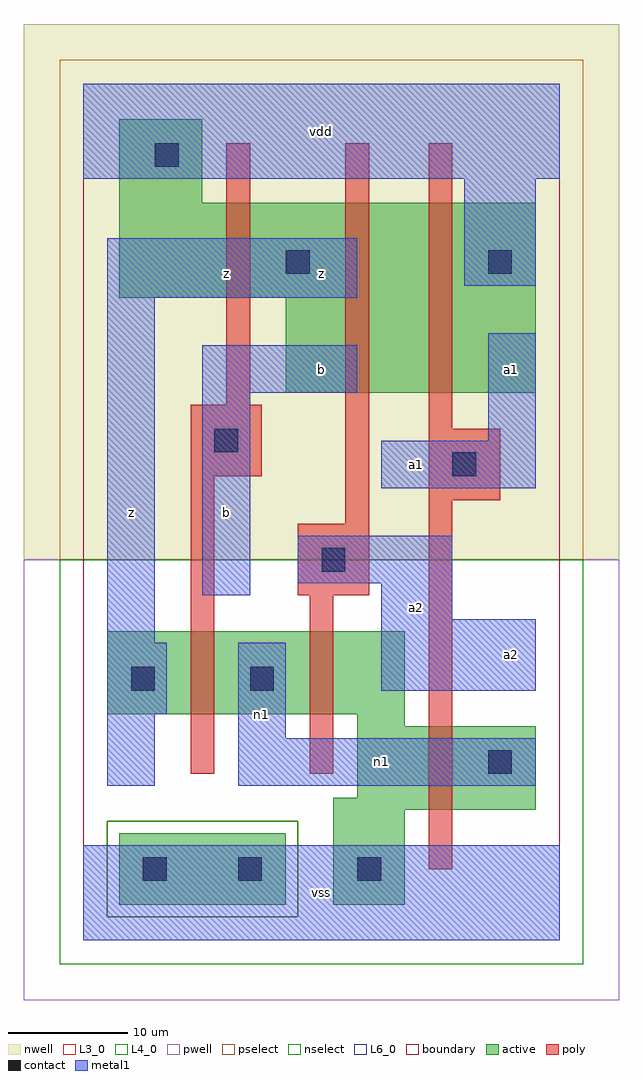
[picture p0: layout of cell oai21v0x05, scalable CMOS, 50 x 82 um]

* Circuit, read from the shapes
.subckt oai21v0x05 a1 a2 b n1 vdd vss z
M1 n1 b z vss nfet w=7u l=2u
M2 vss a2 n1 vss nfet w=7u l=2u
M3 n1 a1 vss vss nfet w=7u l=2u
M4 z b vdd n2 pfet w=8u l=2u
M5 n3 a2 z n2 pfet w=16u l=2u
M6 vdd a1 n3 n2 pfet w=16u l=2u
.ends

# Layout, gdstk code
import gdstk
lib = gdstk.Library(unit=1e-6, precision=1e-09)
def R(c, l, rs):  # rectangles x0, y0, x1, y1
    for r in rs: c.add(gdstk.rectangle(r[:2], r[2:], *l))
L3_0 = (3, 0)
L4_0 = (4, 0)
L6_0 = (6, 0)
contact = (25, 0)
pwell = (41, 0)
nwell = (42, 0)
active = (43, 0)
pselect = (44, 0)
nselect = (45, 0)
poly = (46, 0)
metal1 = (49, 0)
boundary = (63, 0)

oai21v0x05 = lib.new_cell('oai21v0x05')
R(oai21v0x05, L3_0, [(21,3,27,11), (21,11,38,12), (23,12,38,18), (23,18,27,19), (2,19,27,26)])
R(oai21v0x05, L4_0, [(17,46,38,54), (3,54,38,62), (3,62,10,69)])
R(oai21v0x05, L6_0, [(3,3,17,9)])
R(oai21v0x05, contact, [(5,5,7,7), (13,5,15,7), (23,5,25,7), (34,14,36,16), (4,21,6,23), (14,21,16,23), (20,31,22,33), (31,39,33,41), (11,41,13,43), (17,56,19,58), (34,56,36,58), (6,65,8,67)])
R(oai21v0x05, pwell, [(-5,-5,45,32)])
R(oai21v0x05, nwell, [(-5,32,45,77)])
R(oai21v0x05, active, [(3,3,17,9), (21,3,27,11), (21,11,38,12), (23,12,38,18), (23,18,27,19), (2,19,27,26), (17,46,38,54), (3,54,38,62), (3,62,10,69)])
R(oai21v0x05, pselect, [(2,2,18,10), (-2,32,42,74)])
R(oai21v0x05, nselect, [(-2,-2,42,2), (-2,2,2,10), (18,2,42,10), (-2,10,42,32)])
R(oai21v0x05, poly, [(29,6,31,37), (9,14,11,39), (19,14,21,29), (18,29,24,35), (22,35,24,67), (29,37,35,43), (9,39,15,45), (29,43,31,67), (12,45,14,67)])
R(oai21v0x05, metal1, [(0,0,40,8), (2,13,6,19), (13,13,38,17), (13,17,17,25), (2,19,7,25), (25,21,38,27), (2,25,6,54), (25,27,31,30), (10,29,14,46), (18,30,31,34), (25,38,38,42), (34,42,38,51), (10,46,23,50), (2,54,23,59), (32,55,38,64), (0,64,40,72)])
R(oai21v0x05, boundary, [(0,0,40,72)])
oai21v0x05.add(gdstk.Label('n1', (15,19), layer=49, texttype=0))
oai21v0x05.add(gdstk.Label('n1', (25,15), layer=49, texttype=0))
oai21v0x05.add(gdstk.Label('z', (4,36), layer=49, texttype=0))
oai21v0x05.add(gdstk.Label('b', (12,36), layer=49, texttype=0))
oai21v0x05.add(gdstk.Label('z', (12,56), layer=49, texttype=0))
oai21v0x05.add(gdstk.Label('vss', (20,4), layer=49, texttype=0))
oai21v0x05.add(gdstk.Label('a2', (28,28), layer=49, texttype=0))
oai21v0x05.add(gdstk.Label('a1', (28,40), layer=49, texttype=0))
oai21v0x05.add(gdstk.Label('b', (20,48), layer=49, texttype=0))
oai21v0x05.add(gdstk.Label('z', (20,56), layer=49, texttype=0))
oai21v0x05.add(gdstk.Label('vdd', (20,68), layer=49, texttype=0))
oai21v0x05.add(gdstk.Label('a2', (36,24), layer=49, texttype=0))
oai21v0x05.add(gdstk.Label('a1', (36,48), layer=49, texttype=0))

lib.write_gds('oai21v0x05.gds')
